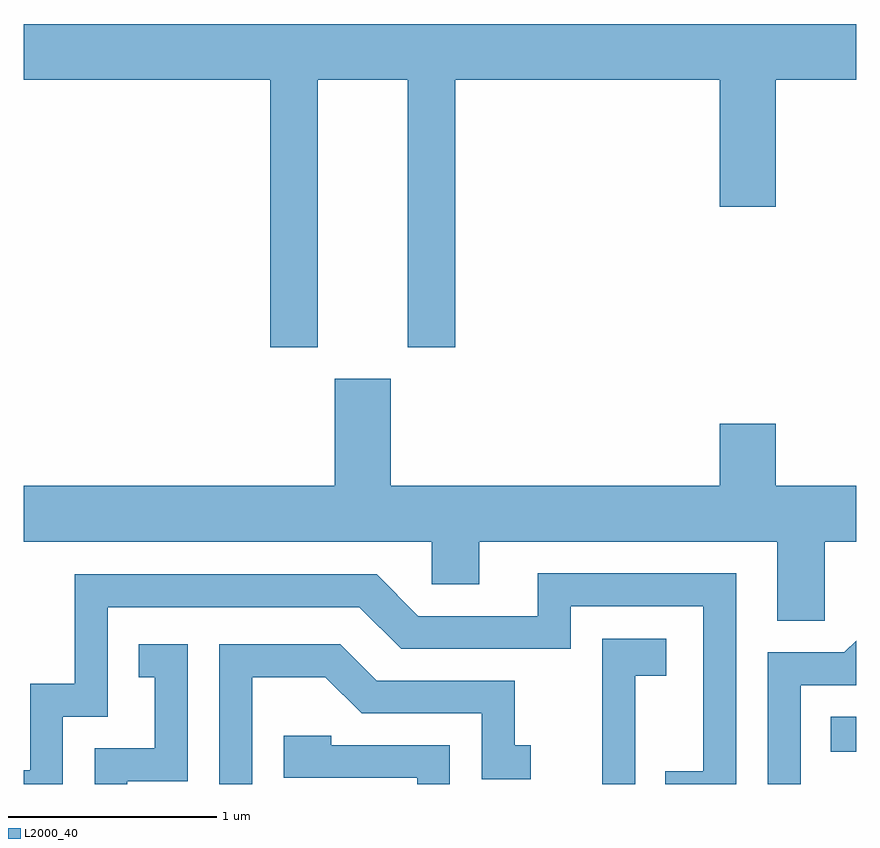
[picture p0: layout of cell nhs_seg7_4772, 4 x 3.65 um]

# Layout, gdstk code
import gdstk
lib = gdstk.Library(unit=1e-6, precision=1e-09)
def R(c, l, rs):  # rectangles x0, y0, x1, y1
    for r in rs: c.add(gdstk.rectangle(r[:2], r[2:], *l))
def P(c, l, *ps):  # polygons
    for p in ps: c.add(gdstk.Polygon(p, *l))
L2000_40 = (2000, 40)

nhs_seg7_4772 = lib.new_cell('nhs_seg7_4772')
R(nhs_seg7_4772, L2000_40, [(335.488,1724.406,335.611,1724.574)])
P(nhs_seg7_4772, L2000_40, [(333.024,1727.636),(333.456,1727.636),(333.456,1726.351),(333.684,1726.351),(333.684,1727.636),(334.956,1727.636),(334.956,1727.026),(335.224,1727.026),(335.224,1727.636),(335.611,1727.636),(335.611,1727.904),(331.611,1727.904),(331.611,1727.636),(332.796,1727.636),(332.796,1726.351),(333.024,1726.351)],
  [(335.459,1725.416),(335.611,1725.416),(335.611,1725.684),(335.224,1725.684),(335.224,1725.984),(334.956,1725.984),(334.956,1725.684),(333.374,1725.684),(333.374,1726.199),(333.106,1726.199),(333.106,1725.684),(331.611,1725.684),(331.611,1725.416),(333.571,1725.416),(333.571,1725.211),(333.799,1725.211),(333.799,1725.416),(335.231,1725.416),(335.231,1725.036),(335.459,1725.036)],
  [(331.799,1724.576),(332.014,1724.576),(332.014,1725.101),(333.224,1725.101),(333.424,1724.901),(334.239,1724.901),(334.239,1725.106),(334.876,1725.106),(334.876,1724.314),(334.693,1724.314),(334.693,1724.252),(335.034,1724.252),(335.034,1725.264),(334.081,1725.264),(334.081,1725.059),(333.507,1725.059),(333.307,1725.259),(331.856,1725.259),(331.856,1724.734),(331.641,1724.734),(331.641,1724.319),(331.611,1724.319),(331.611,1724.252),(331.799,1724.252)],
  [(334.549,1724.771),(334.699,1724.771),(334.699,1724.949),(334.391,1724.949),(334.391,1724.252),(334.549,1724.252)],
  [(335.344,1724.726),(335.611,1724.726),(335.611,1724.941),(335.554,1724.884),(335.186,1724.884),(335.186,1724.252),(335.344,1724.252)],
  [(332.109,1724.266),(332.399,1724.266),(332.399,1724.924),(332.163,1724.924),(332.163,1724.766),(332.241,1724.766),(332.241,1724.424),(331.951,1724.424),(331.951,1724.252),(332.109,1724.252)],
  [(332.709,1724.766),(333.059,1724.766),(333.234,1724.591),(333.811,1724.591),(333.811,1724.276),(334.048,1724.276),(334.048,1724.439),(333.969,1724.439),(333.969,1724.749),(333.307,1724.749),(333.132,1724.924),(332.551,1724.924),(332.551,1724.252),(332.709,1724.252)],
  [(333.659,1724.439),(333.089,1724.439),(333.089,1724.484),(332.861,1724.484),(332.861,1724.281),(333.501,1724.281),(333.501,1724.252),(333.659,1724.252)])

lib.write_gds('nhs_seg7_4772.gds')
